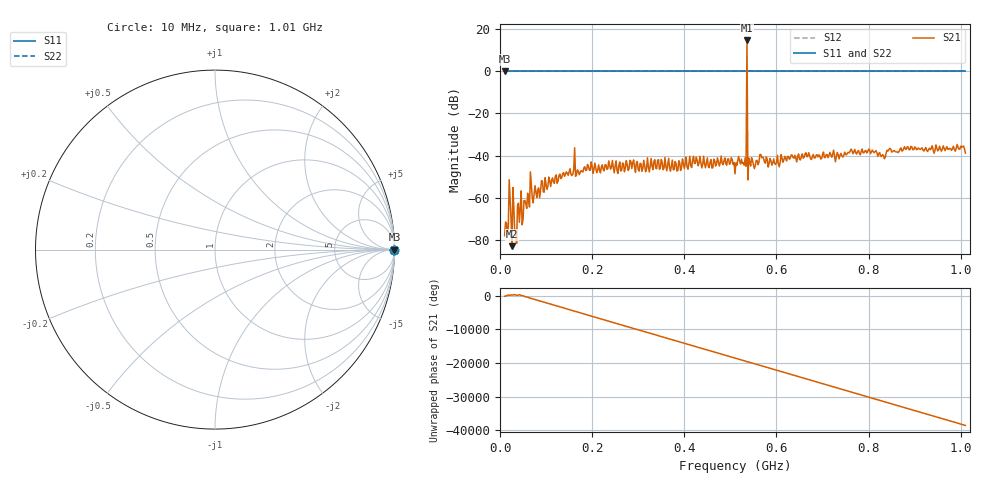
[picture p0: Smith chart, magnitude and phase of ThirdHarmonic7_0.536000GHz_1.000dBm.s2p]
! 8/17/2025 4:01:43 PM
! C:\ANRITSUVNA\TEMP\TEMP.S2P
! CHANNEL.1
! TR.MEASUREMENT
! RAW.DATA
! RF.CORRECTION.OFF
! AVERAGING.OFF
! IF.BANDWIDTH: 5KHZ
! SWEEPTYPE:  FREQ.SWEEP(Linear)
! Reference Plane Port Info
! PORT:  PORT1  PORT2
! DISTANCE:  0  m  0  m
! TIME:  0  s  0  s
! PHASE.OFFSET:  0  deg.  0  deg.
! LOSS:  0  dB  0  dB
! REF.LOSS:  0  dB  0  dB
! REF.FREQ:  0  Hz  0  Hz
! Power Info
! POWER:  -20  dBm  -20  dBm
! EFF.POWER:  -20  dBm  -20  dBm
! SOURCE.ATTEN:  0  dB  0  dB
! TEST.ATTEN:  0  dB  0  dB
# GHZ S RI R 50.0
! FREQ.GHZ  S11RE  S11IM  S21RE  S21IM  S12RE  S12IM  S22RE  S22IM
!; PortSelection: Port_12
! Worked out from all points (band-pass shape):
!   501 points, 10 MHz to 1.01 GHz, reference 50 ohm
!   highest |S21| = 14.74 dB at 536 MHz (marker M1); lowest = -83.1 dB at 26 MHz (marker M2)
!   |S21| within 3 dB of the highest: 535.8998 MHz to 536.0904 MHz (190.6 kHz wide, 0.0356 % of centre)
!   lowest |S11| = 0.0 dB at 10 MHz (marker M3)
!   |S11| at or under -10 dB: nowhere
!   |S22| runs from 0.0 to 0.0 dB; largest |S21 - S12| = 6.1
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0.01  1 0  -5.81e-05 -0.000109  1 0  1 0
0.024  1 0  0.000181 -0.000234  1 0  1 0
0.026  1 0  -2.75e-05 -6.4e-05  1 0  1 0
0.034  1 0  0.000111 -0.000121  1 0  1 0
0.042  1 0  0.000254 -4.36e-05  1 0  1 0
0.052  1 0  0.000469 -0.000692  1 0  1 0
0.064  1 0  -0.000301 0.000515  1 0  1 0
0.158  1 0  0.00111 -0.0034  1 0  1 0
0.178  1 0  -0.00409 -0.000946  1 0  1 0
0.344  1 0  0.00768 -0.0022  1 0  1 0
0.51  1 0  -0.00291 0.00223  1 0  1 0
0.53  1 0  -0.00264 0.00525  1 0  1 0
0.532  1 0  0.0072 0.00501  1 0  1 0
0.536  1 0  -3.499 4.187  1 0  1 0
0.54  1 0  0.00185 0.00846  1 0  1 0
0.542  1 0  0.00622 -0.00295  1 0  1 0
0.568  1 0  0.00791 0.0039  1 0  1 0
0.586  1 0  0.007 0.00486  1 0  1 0
0.678  1 0  0.00601 -0.00749  1 0  1 0
0.832  1 0  -0.00532 -0.00867  1 0  1 0
0.844  1 0  -0.00891 0.0105  1 0  1 0
1.01  1 0  0.0034 -0.0109  1 0  1 0
